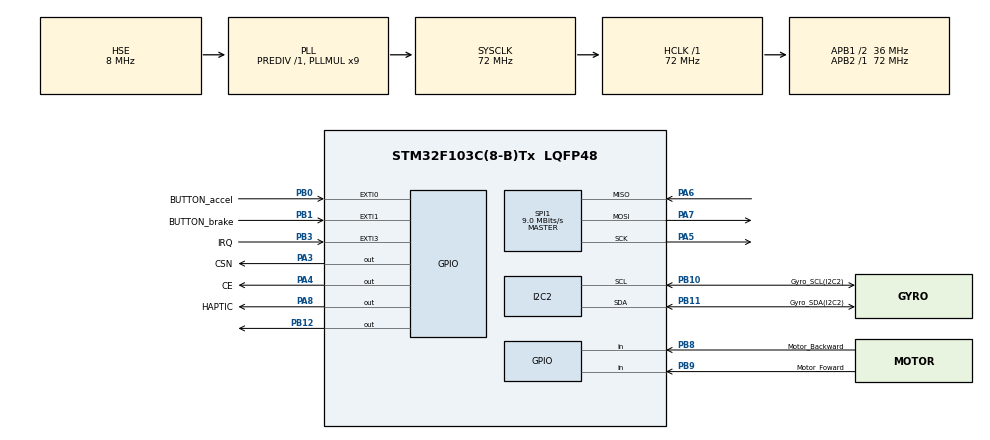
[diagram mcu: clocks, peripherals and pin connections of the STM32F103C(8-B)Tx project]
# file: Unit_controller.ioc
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FREERTOS.BinarySemaphores01=ackSem,Dynamic,NULL,Available
FREERTOS.Queues01=sensorQueue,1,float,0,Dynamic,NULL,NULL
FREERTOS.Tasks01=commTask,40,256,StartcommTask,Default,NULL,Dynamic,NULL,NULL;sensorTask,40,256,StartsensorTask,Default,NULL,Dynamic,NULL,NULL;ackHandlerTask,24,128,StartackHandlerTask,Default,NULL,Dynamic,NULL,NULL
FREERTOS.configTOTAL_HEAP_SIZE=4096
FREERTOS.configUSE_NEWLIB_REENTRANT=1
I2C2.I2C_Mode=I2C_Fast
Mcu.Family=STM32F1
Mcu.Name=STM32F103C(8-B)Tx
Mcu.Package=LQFP48
NVIC.EXTI0_IRQn=true\:5\:0\:false\:false\:true\:true\:true\:true\:true
NVIC.EXTI1_IRQn=true\:5\:0\:false\:false\:true\:true\:true\:true\:true
NVIC.EXTI3_IRQn=true\:5\:0\:false\:false\:true\:true\:true\:true\:true
NVIC.PriorityGroup=NVIC_PRIORITYGROUP_4
NVIC.SPI1_IRQn=true\:5\:0\:false\:false\:true\:true\:true\:true\:true
NVIC.TIM2_IRQn=true\:5\:0\:false\:false\:true\:true\:true\:true\:true
NVIC.TIM4_IRQn=true\:15\:0\:false\:false\:true\:false\:false\:true\:true
NVIC.TimeBase=TIM4_IRQn
NVIC.TimeBaseIP=TIM4
PA13.Mode=Serial_Wire
PA13.Signal=SYS_JTMS-SWDIO
PA14.Mode=Serial_Wire
PA14.Signal=SYS_JTCK-SWCLK
PA3.GPIO_Label=CSN
PA3.GPIO_Speed=GPIO_SPEED_FREQ_HIGH
PA3.Signal=GPIO_Output
PA4.GPIO_Label=CE
PA4.GPIO_Speed=GPIO_SPEED_FREQ_HIGH
PA4.Signal=GPIO_Output
PA5.Mode=Full_Duplex_Master
PA5.Signal=SPI1_SCK
PA6.Mode=Full_Duplex_Master
PA6.Signal=SPI1_MISO
PA7.Mode=Full_Duplex_Master
PA7.Signal=SPI1_MOSI
PA8.GPIO_Label=HAPTIC
PA8.Signal=GPIO_Output
PB0.GPIO_Label=BUTTON_accel
PB0.GPIO_ModeDefaultEXTI=GPIO_MODE_IT_RISING_FALLING
PB0.GPIO_PuPd=GPIO_PULLUP
PB0.Signal=GPXTI0
PB1.GPIO_Label=BUTTON_brake
PB1.GPIO_ModeDefaultEXTI=GPIO_MODE_IT_RISING_FALLING
PB1.GPIO_PuPd=GPIO_PULLUP
PB1.Signal=GPXTI1
PB10.GPIO_Label=Gyro_SCL(I2C2)
PB10.Mode=I2C
PB10.Signal=I2C2_SCL
PB11.GPIO_Label=Gyro_SDA(I2C2)
PB11.Mode=I2C
PB11.Signal=I2C2_SDA
PB12.Signal=GPIO_Output
PB3.GPIO_Label=IRQ
PB3.GPIO_ModeDefaultEXTI=GPIO_MODE_IT_FALLING
PB3.GPIO_PuPd=GPIO_PULLUP
PB3.Signal=GPXTI3
PB8.GPIO_Label=Motor_Backward
PB8.GPIO_PuPd=GPIO_PULLUP
PB8.Signal=GPIO_Input
PB9.GPIO_Label=Motor_Foward
PB9.GPIO_PuPd=GPIO_PULLUP
PB9.Signal=GPIO_Input
PD0-OSC_IN.Mode=HSE-External-Oscillator
PD0-OSC_IN.Signal=RCC_OSC_IN
PD1-OSC_OUT.Mode=HSE-External-Oscillator
PD1-OSC_OUT.Signal=RCC_OSC_OUT
ProjectManager.HeapSize=0x200
ProjectManager.StackSize=0x400
ProjectManager.TargetToolchain=STM32CubeIDE
RCC.AHBFreq_Value=72000000
RCC.APB1CLKDivider=RCC_HCLK_DIV2
RCC.APB1Freq_Value=36000000
RCC.APB1TimFreq_Value=72000000
RCC.APB2Freq_Value=72000000
RCC.APB2TimFreq_Value=72000000
RCC.HCLKFreq_Value=72000000
RCC.PLLMUL=RCC_PLL_MUL9
RCC.PLLSourceVirtual=RCC_PLLSOURCE_HSE
RCC.SYSCLKFreq_VALUE=72000000
RCC.SYSCLKSource=RCC_SYSCLKSOURCE_PLLCLK
RCC.USBFreq_Value=72000000
SPI1.BaudRatePrescaler=SPI_BAUDRATEPRESCALER_8
SPI1.CalculateBaudRate=9.0 MBits/s
SPI1.Direction=SPI_DIRECTION_2LINES
SPI1.Mode=SPI_MODE_MASTER
SPI1.VirtualType=VM_MASTER
TIM2.Period=19999
TIM2.Prescaler=71
VP_FREERTOS_VS_CMSIS_V2.Mode=CMSIS_V2
VP_SYS_VS_tim4.Mode=TIM4
VP_TIM2_VS_ClockSourceINT.Mode=Internal
board=custom

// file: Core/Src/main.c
/* USER CODE BEGIN Header */
/**
  ******************************************************************************
  * @file           : main.c
  * @brief          : Main program body
  ******************************************************************************
  * @attention
  *
  * Copyright (c) 2025 STMicroelectronics.
  * All rights reserved.
  *
  * This software is licensed under terms that can be found in the LICENSE file
  * in the root directory of this software component.
  * If no LICENSE file comes with this software, it is provided AS-IS.
  *
  ******************************************************************************
  */
/* USER CODE END Header */
#include "main.h"
#include "cmsis_os.h"
#include "i2c.h"
#include "spi.h"
#include "tim.h"
#include "gpio.h"

/* USER CODE BEGIN Includes */
#include <string.h>
#include "mpu6050.h"
#include "input_handler.h"
#include "comm_handler.h"

/* USER CODE END Includes */

/* USER CODE BEGIN PTD */

MPU6050_t MPU6050;

/* USER CODE END PTD */

/* USER CODE BEGIN PD */
float roll;

/* USER CODE END PD */

void SystemClock_Config(void);
void MX_FREERTOS_Init(void);

int main(void)
{

  /* MCU Configuration--------------------------------------------------------*/

  /* Reset of all peripherals, Initializes the Flash interface and the Systick. */
  HAL_Init();

  /* Configure the system clock */
  SystemClock_Config();

  /* Initialize all configured peripherals */
  MX_GPIO_Init();
  MX_I2C2_Init();
  MX_TIM2_Init();
  MX_SPI1_Init();
  /* USER CODE BEGIN 2 */
  InputHandler_Init();
  CommHandler_Init();

  if (MPU6050_Init(&hi2c2) != 0) {
      Error_Handler();
  }

  HAL_TIM_Base_Start_IT(&htim2);

  /* USER CODE END 2 */

  /* Init scheduler */
  osKernelInitialize();

  /* Call init function for freertos objects (in cmsis_os2.c) */
  MX_FREERTOS_Init();

  /* Start scheduler */
  osKernelStart();

  /* We should never get here as control is now taken by the scheduler */

  /* Infinite loop */
    while (1)
    {

 }
}

void SystemClock_Config(void)
{
  RCC_OscInitTypeDef RCC_OscInitStruct = {0};
  RCC_ClkInitTypeDef RCC_ClkInitStruct = {0};

  /** Initializes the RCC Oscillators according to the specified parameters
  * in the RCC_OscInitTypeDef structure.
  */
  RCC_OscInitStruct.OscillatorType = RCC_OSCILLATORTYPE_HSE;
  RCC_OscInitStruct.HSEState = RCC_HSE_ON;
  RCC_OscInitStruct.HSEPredivValue = RCC_HSE_PREDIV_DIV1;
  RCC_OscInitStruct.HSIState = RCC_HSI_ON;
  RCC_OscInitStruct.PLL.PLLState = RCC_PLL_ON;
  RCC_OscInitStruct.PLL.PLLSource = RCC_PLLSOURCE_HSE;
  RCC_OscInitStruct.PLL.PLLMUL = RCC_PLL_MUL9;
  if (HAL_RCC_OscConfig(&RCC_OscInitStruct) != HAL_OK)
  {
    Error_Handler();
  }

  /** Initializes the CPU, AHB and APB buses clocks
  */
  RCC_ClkInitStruct.ClockType = RCC_CLOCKTYPE_HCLK|RCC_CLOCKTYPE_SYSCLK
                              |RCC_CLOCKTYPE_PCLK1|RCC_CLOCKTYPE_PCLK2;
  RCC_ClkInitStruct.SYSCLKSource = RCC_SYSCLKSOURCE_PLLCLK;
  RCC_ClkInitStruct.AHBCLKDivider = RCC_SYSCLK_DIV1;
  RCC_ClkInitStruct.APB1CLKDivider = RCC_HCLK_DIV2;
  RCC_ClkInitStruct.APB2CLKDivider = RCC_HCLK_DIV1;

  if (HAL_RCC_ClockConfig(&RCC_ClkInitStruct, FLASH_LATENCY_2) != HAL_OK)
  {
    Error_Handler();
  }
}

/* USER CODE BEGIN 4 */

// --- 콜백 함수들은 각 핸들러에게 작업을 위임 ---
void HAL_GPIO_EXTI_Callback(uint16_t GPIO_Pin)
{
    // USER CODE BEGIN Callback 0
    extern osSemaphoreId_t ackSemHandle; // CubeMX가 생성한 세마포어 핸들
    // USER CODE END Callback 0

    if (GPIO_Pin == GPIO_PIN_3)
    {
        // CommHandler_IrqCallback(); // 기존 호출 대신
        osSemaphoreRelease(ackSemHandle); // 세마포어를 해제하여 ackHandlerTask를 깨움
        return;
    }
    InputHandler_GpioCallback(GPIO_Pin);
}
/* USER CODE END 4 */

void HAL_TIM_PeriodElapsedCallback(TIM_HandleTypeDef *htim)
{
  if (htim->Instance == TIM4)
  {
    HAL_IncTick();
  }
  /* USER CODE BEGIN Callback 1 */
  if (htim->Instance == TIM2)
      InputHandler_TimerCallback();

  /* USER CODE END Callback 1 */
}

void Error_Handler(void)
{
  __disable_irq();
  while (1)
  {
  }
}

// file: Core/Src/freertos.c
/* USER CODE BEGIN Header */
/**
  ******************************************************************************
  * File Name          : freertos.c
  * Description        : Code for freertos applications
  ******************************************************************************
  * @attention
  *
  * Copyright (c) 2025 STMicroelectronics.
  * All rights reserved.
  *
  * This software is licensed under terms that can be found in the LICENSE file
  * in the root directory of this software component.
  * If no LICENSE file comes with this software, it is provided AS-IS.
  *
  ******************************************************************************
  */
/* USER CODE END Header */

#include "FreeRTOS.h"
#include "task.h"
#include "main.h"
#include "cmsis_os.h"

/* USER CODE BEGIN Includes */
#include <string.h>
#include "comm_handler.h"  // CommStatus_t, PAYLOAD_SIZE 등 사용
#include "input_handler.h" // InputHandler_... 함수들 사용
#include "mpu6050.h"

extern I2C_HandleTypeDef hi2c2;
extern MPU6050_t MPU6050;

/* USER CODE END Includes */

/* USER CODE BEGIN PD */
static float App_GetRollAngle(void);
static void App_BuildPacket(uint8_t* packet_buffer, float roll_angle);
static void App_HandleAckPayload(uint8_t* ack_payload);
/* USER CODE END PD */

/* Definitions for commTask */
osThreadId_t commTaskHandle;
const osThreadAttr_t commTask_attributes = {
  .name = "commTask",
  .stack_size = 256 * 4,
  .priority = (osPriority_t) osPriorityHigh,
};
/* Definitions for sensorTask */
osThreadId_t sensorTaskHandle;
const osThreadAttr_t sensorTask_attributes = {
  .name = "sensorTask",
  .stack_size = 256 * 4,
  .priority = (osPriority_t) osPriorityHigh,
};
/* Definitions for ackHandlerTask */
osThreadId_t ackHandlerTaskHandle;
const osThreadAttr_t ackHandlerTask_attributes = {
  .name = "ackHandlerTask",
  .stack_size = 128 * 4,
  .priority = (osPriority_t) osPriorityNormal,
};
/* Definitions for sensorQueue */
osMessageQueueId_t sensorQueueHandle;
const osMessageQueueAttr_t sensorQueue_attributes = {
  .name = "sensorQueue"
};
/* Definitions for ackSem */
osSemaphoreId_t ackSemHandle;
const osSemaphoreAttr_t ackSem_attributes = {
  .name = "ackSem"
};

void StartcommTask(void *argument);
void StartsensorTask(void *argument);
void StartackHandlerTask(void *argument);

void MX_FREERTOS_Init(void); /* (MISRA C 2004 rule 8.1) */

void MX_FREERTOS_Init(void) {

  /* Create the semaphores(s) */
  /* creation of ackSem */
  ackSemHandle = osSemaphoreNew(1, 1, &ackSem_attributes);

  /* Create the queue(s) */
  /* creation of sensorQueue */
  sensorQueueHandle = osMessageQueueNew (1, sizeof(float), &sensorQueue_attributes);

  /* Create the thread(s) */
  /* creation of commTask */
  commTaskHandle = osThreadNew(StartcommTask, NULL, &commTask_attributes);

  /* creation of sensorTask */
  sensorTaskHandle = osThreadNew(StartsensorTask, NULL, &sensorTask_attributes);

  /* creation of ackHandlerTask */
  ackHandlerTaskHandle = osThreadNew(StartackHandlerTask, NULL, &ackHandlerTask_attributes);

}

void StartcommTask(void *argument)
{
  /* USER CODE BEGIN StartcommTask */
	  uint8_t tx_packet[PAYLOAD_SIZE] = {0};
	  float roll = 0.0f; // roll 값을 저장할 지역 변수

  /* Infinite loop */
  for(;;)
  {
	   osMessageQueueGet(sensorQueueHandle, &roll, NULL, osWaitForever);
	   App_BuildPacket(tx_packet, roll);
	   CommHandler_Transmit(tx_packet, PAYLOAD_SIZE);
  }
  /* USER CODE END StartcommTask */
}

void StartsensorTask(void *argument)
{
  /* USER CODE BEGIN StartsensorTask */
  /* Infinite loop */
  for(;;)
  {
	    // 1. 센서 값을 읽어옵니다.
	    float roll = App_GetRollAngle();

	    // 2. 읽어온 값을 메시지 큐에 넣습니다.
	    osMessageQueuePut(sensorQueueHandle, &roll, 0U, 0U);

	    // 3. 5ms 주기로 실행합니다.
	    osDelay(5);

  }
  /* USER CODE END StartsensorTask */
}

void StartackHandlerTask(void *argument)
{
  /* USER CODE BEGIN StartackHandlerTask */
	  uint8_t ack_packet[ACK_PAYLOAD_SIZE] = {0};

  /* Infinite loop */
  for(;;)
  {
	  // 1. 세마포어 신호가 올 때까지 무한정 대기 (휴면 상태, CPU 점유율 0)
	  osSemaphoreAcquire(ackSemHandle, osWaitForever);

	    // 2. 신호가 와서 깨어나면, ACK 처리 로직을 수행
	    CommStatus_t status = CommHandler_CheckStatus(ack_packet, ACK_PAYLOAD_SIZE);
	    if (status == COMM_TX_SUCCESS)
	    {
	        App_HandleAckPayload(ack_packet);
	    }
	    else if (status == COMM_TX_FAIL)
	    {
	        // TODO: 통신 실패 시 처리 로직
	    }
	  }
  /* USER CODE END StartackHandlerTask */
}

/* USER CODE BEGIN Application */

// ★★★ main 루프의 상세 로직을 담당하는 내부 헬퍼 함수들 ★★★

/**
  * @brief  MPU6050 센서로부터 Roll 각도를 읽어옵니다.
  */
static float App_GetRollAngle(void)
{
    MPU6050_Read_All(&hi2c2, &MPU6050);
    return MPU6050.KalmanAngleX;
}

/**
  * @brief  각 모듈에서 데이터를 가져와 전송 패킷을 구성합니다.
  */
static void App_BuildPacket(uint8_t* packet_buffer, float roll_angle)
{
    memset(packet_buffer, 0, PAYLOAD_SIZE);

    packet_buffer[0] = 1; // ID

    // Roll 값 인코딩
    int16_t roll_encoded = (int16_t)(roll_angle * 100.0f);
    memcpy(&packet_buffer[1], &roll_encoded, sizeof(int16_t));

    // 버튼 입력 시간 가져오기
    uint16_t accel_ms = InputHandler_GetAccelMillis();
    uint16_t brake_ms = InputHandler_GetBrakeMillis();
    memcpy(&packet_buffer[3], &accel_ms, sizeof(uint16_t));
    memcpy(&packet_buffer[5], &brake_ms, sizeof(uint16_t));

    // 방향 정보 가져오기
    packet_buffer[7] = InputHandler_GetDirection();
}

/**
  * @brief  수신된 ACK 페이로드를 처리합니다.
  */
static void App_HandleAckPayload(uint8_t* ack_payload)
{
    if (ack_payload[0] == 1)
        HAL_GPIO_WritePin(GPIOA, GPIO_PIN_8, GPIO_PIN_SET);
    else
        HAL_GPIO_WritePin(GPIOA, GPIO_PIN_8, GPIO_PIN_RESET);
}
/* USER CODE END Application */
